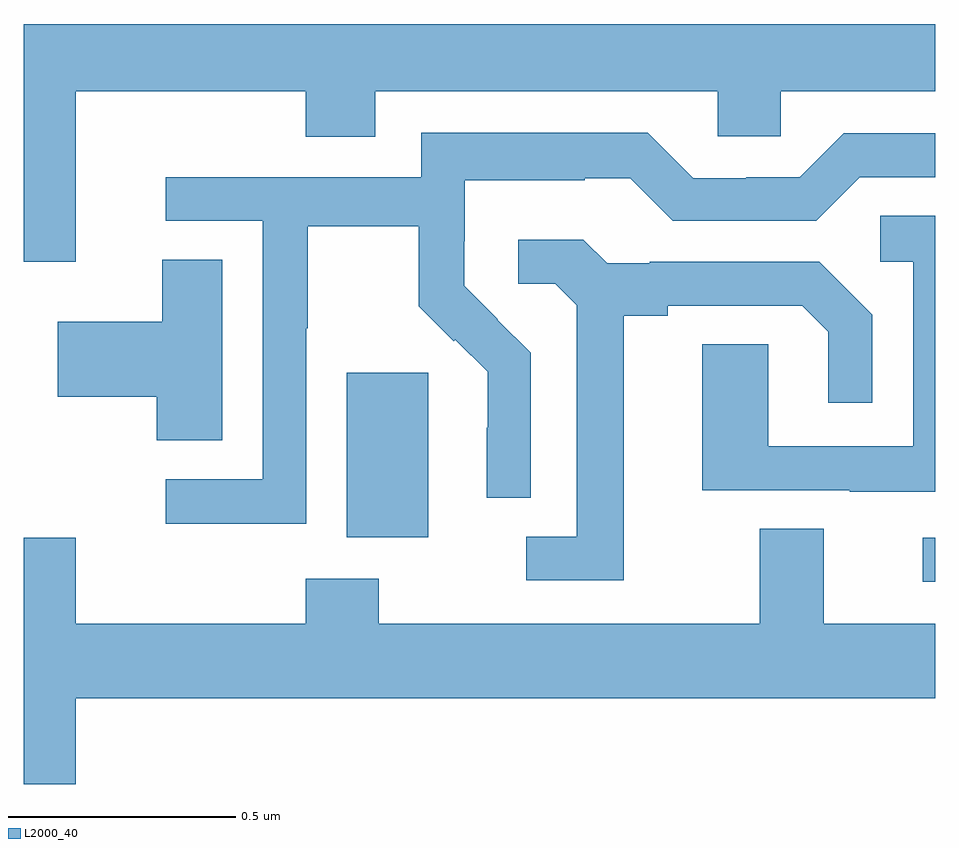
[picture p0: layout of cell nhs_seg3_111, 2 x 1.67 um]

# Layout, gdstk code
import gdstk
lib = gdstk.Library(unit=1e-6, precision=1e-09)
def R(c, l, rs):  # rectangles x0, y0, x1, y1
    for r in rs: c.add(gdstk.rectangle(r[:2], r[2:], *l))
def P(c, l, *ps):  # polygons
    for p in ps: c.add(gdstk.Polygon(p, *l))
L2000_40 = (2000, 40)

nhs_seg3_111 = lib.new_cell('nhs_seg3_111')
R(nhs_seg3_111, L2000_40, [(113.973,697.176,114,697.272), (112.709,697.274,112.888,697.635)])
P(nhs_seg3_111, L2000_40, [(112.114,698.252),(112.619,698.252),(112.619,698.153),(112.771,698.153),(112.771,698.252),(113.523,698.252),(113.523,698.154),(113.661,698.154),(113.661,698.252),(114,698.252),(114,698.4),(112,698.4),(112,697.878),(112.114,697.878)],
  [(112.62,697.732),(112.623,697.732),(112.623,697.956),(112.867,697.956),(112.867,697.781),(112.944,697.704),(112.947,697.707),(113.018,697.637),(113.018,697.514),(113.016,697.514),(113.016,697.36),(113.112,697.36),(113.112,697.678),(113.039,697.751),(113.04,697.752),(112.966,697.826),(112.966,697.923),(112.968,697.923),(112.968,698.057),(113.231,698.057),(113.231,698.061),(113.331,698.061),(113.424,697.968),(113.739,697.968),(113.835,698.064),(114,698.064),(114,698.16),(113.799,698.16),(113.703,698.064),(113.585,698.064),(113.585,698.061),(113.469,698.061),(113.369,698.161),(112.872,698.161),(112.872,698.064),(112.311,698.064),(112.311,697.968),(112.524,697.968),(112.524,697.401),(112.311,697.401),(112.311,697.303),(112.62,697.303)],
  [(114,697.979),(113.88,697.979),(113.88,697.878),(113.952,697.878),(113.952,697.473),(113.634,697.473),(113.634,697.697),(113.489,697.697),(113.489,697.377),(113.813,697.377),(113.813,697.373),(114,697.373)],
  [(113.317,697.76),(113.413,697.76),(113.413,697.782),(113.708,697.782),(113.765,697.725),(113.765,697.569),(113.862,697.569),(113.862,697.762),(113.746,697.878),(113.374,697.878),(113.374,697.875),(113.28,697.875),(113.228,697.927),(113.085,697.927),(113.085,697.83),(113.166,697.83),(113.213,697.783),(113.213,697.275),(113.103,697.275),(113.103,697.179),(113.317,697.179)],
  [(112.435,697.883),(112.304,697.883),(112.304,697.747),(112.074,697.747),(112.074,697.582),(112.292,697.582),(112.292,697.486),(112.435,697.486)],
  [(112.114,696.92),(114,696.92),(114,697.084),(113.755,697.084),(113.755,697.292),(113.615,697.292),(113.615,697.084),(112.779,697.084),(112.779,697.183),(112.619,697.183),(112.619,697.084),(112.114,697.084),(112.114,697.273),(112,697.273),(112,696.732),(112.114,696.732)])

lib.write_gds('nhs_seg3_111.gds')
